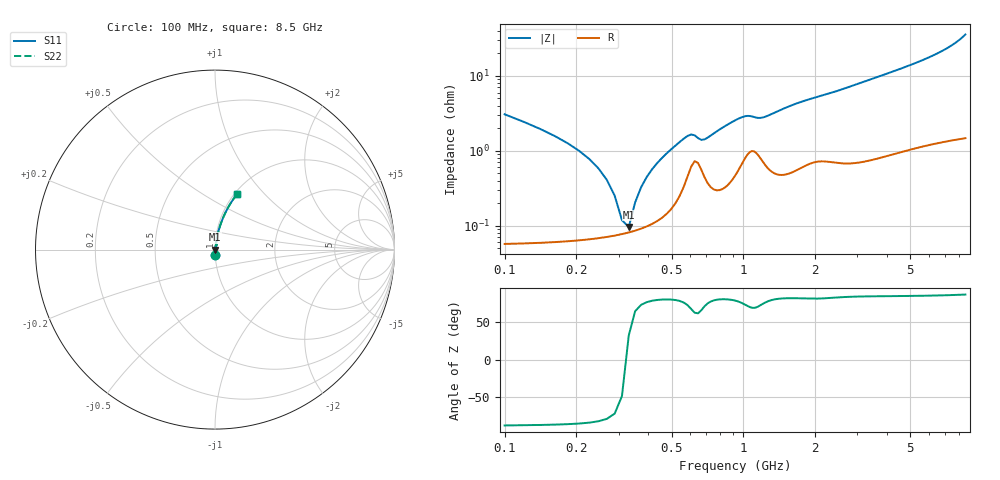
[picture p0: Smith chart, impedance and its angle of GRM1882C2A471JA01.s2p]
!Murata Part Number: GRM1882C2A471JA01
!These Parameters are Measured in Series Mode Connection
!Data Generated on Mar 30, 2021
!  o--ll--o
!Port1  Port2
!  o------o
!Operation Temp=25[degC], DC Bias Voltage=0[V]
!Freq. Start=100[MHz] Stop=9[GHz] 401[Steps]
# Hz S RI R 50
!Freq.(Hz) S11(Real) S11(Imag) S21(Real) S21(Imag) S12(Real) S12(Imag) S22(Real) S22(Imag)
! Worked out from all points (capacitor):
!   401 points, 100 MHz to 8.5 GHz, reference 50 ohm
!   read as one part in series: C = 467 pF near 142 MHz
!   lowest |Z| = 95.9 mohm at 331 MHz (marker M1)
!   series resonance near 323.4 MHz, so ESL is about 520 pH
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1e8  0.00151 -0.0306  0.9985 0.0306  0.9985 0.0306  0.00151 -0.0306
1.42e8  0.000962 -0.0193  0.999 0.0193  0.999 0.0193  0.000962 -0.0193
2.26e8  0.000715 -0.00774  0.9993 0.00774  0.9993 0.00774  0.000715 -0.00774
2.47e8  0.000712 -0.00578  0.9993 0.00578  0.9993 0.00578  0.000712 -0.00578
2.89e8  0.000741 -0.0024  0.9993 0.0024  0.9993 0.0024  0.000741 -0.0024
3.1e8  0.000771 -0.000896  0.9992 0.000896  0.9992 0.000896  0.000771 -0.000896
3.31e8  0.00081 0.000513  0.9992 -0.000513  0.9992 -0.000513  0.00081 0.000513
3.52e8  0.000859 0.00185  0.9991 -0.00185  0.9991 -0.00185  0.000859 0.00185
3.94e8  0.000994 0.00437  0.999 -0.00437  0.999 -0.00437  0.000994 0.00437
4.36e8  0.0012 0.00677  0.9988 -0.00677  0.9988 -0.00677  0.0012 0.00677
4.99e8  0.00178 0.0103  0.9982 -0.0103  0.9982 -0.0103  0.00178 0.0103
5.83e8  0.0047 0.015  0.9953 -0.015  0.9953 -0.015  0.0047 0.015
7.09e8  0.00387 0.0144  0.9961 -0.0144  0.9961 -0.0144  0.00387 0.0144
9.82e8  0.00723 0.0268  0.9928 -0.0268  0.9928 -0.0268  0.00723 0.0268
1.213e9  0.0076 0.0267  0.9924 -0.0267  0.9924 -0.0267  0.0076 0.0267
1.507e9  0.00618 0.037  0.9938 -0.037  0.9938 -0.037  0.00618 0.037
1.906e9  0.00902 0.048  0.991 -0.048  0.991 -0.048  0.00902 0.048
2.914e9  0.0123 0.0737  0.9877 -0.0737  0.9877 -0.0737  0.0123 0.0737
4.3e9  0.022 0.1129  0.978 -0.1129  0.978 -0.1129  0.022 0.1129
5.707e9  0.0371 0.1574  0.9629 -0.1574  0.9629 -0.1574  0.0371 0.1574
7.114e9  0.0629 0.2159  0.9371 -0.2159  0.9371 -0.2159  0.0629 0.2159
8.5e9  0.1232 0.3088  0.8768 -0.3088  0.8768 -0.3088  0.1232 0.3088
